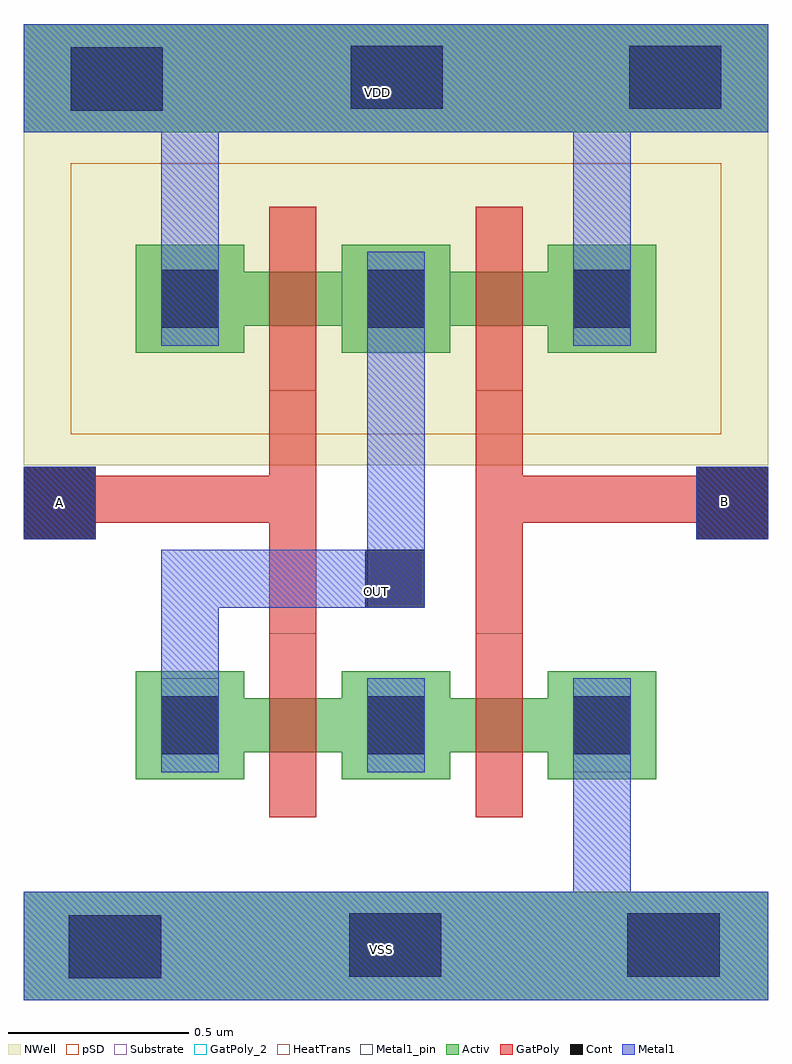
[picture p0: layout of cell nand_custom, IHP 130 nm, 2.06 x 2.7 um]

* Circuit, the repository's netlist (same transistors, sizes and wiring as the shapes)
** sch_path: /foss/designs/PhaseInterpolator/Custom_std_cells/nand_custom.sch
.subckt nand_custom VDD OUT A B VSS
*.PININFO VDD:B VSS:B A:I B:I OUT:O
M1 OUT A net1 VSS sg13_lv_nmos w=0.15u l=0.13u ng=1 m=1
M2 OUT A VDD VDD sg13_lv_pmos w=0.15u l=0.13u ng=1 m=1
M3 net1 B VSS VSS sg13_lv_nmos w=0.15u l=0.13u ng=1 m=1
M4 OUT B VDD VDD sg13_lv_pmos w=0.15u l=0.13u ng=1 m=1
.ends

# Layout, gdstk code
from math import pi, radians
import gdstk
lib = gdstk.Library(unit=1e-6, precision=5e-09)
def R(c, l, rs):  # rectangles x0, y0, x1, y1
    for r in rs: c.add(gdstk.rectangle(r[:2], r[2:], *l))
Activ = (1, 0)
GatPoly = (5, 0)
GatPoly_2 = (5, 2)
Cont = (6, 0)
Metal1 = (8, 0)
Metal1_pin = (8, 2)
pSD = (14, 0)
NWell = (31, 0)
Substrate = (40, 0)
HeatTrans = (51, 0)

nmos = lib.new_cell('nmos')
R(nmos, Activ, [(0,0,0.3,0.3), (0.57,0,0.87,0.3), (0,0.075,0.87,0.225)])
R(nmos, GatPoly, [(0.37,-0.105,0.5,0.405)])
R(nmos, GatPoly_2, [(0.37,-0.105,0.5,0.405)])
R(nmos, Cont, [(0.07,0.07,0.23,0.23), (0.64,0.07,0.8,0.23)])
R(nmos, Metal1, [(0.07,0.02,0.23,0.28), (0.64,0.02,0.8,0.28)])
R(nmos, Metal1_pin, [(0.07,0.02,0.23,0.28), (0.64,0.02,0.8,0.28)])
R(nmos, HeatTrans, [(0.37,-0.105,0.5,0.405)])
nmos.add(gdstk.Label('nmos', (0.435,0.15), layer=63, texttype=0))
nmos.add(gdstk.Label('nmos', (0.435,0.15), layer=51, texttype=0))

pmos = lib.new_cell('pmos')
R(pmos, Activ, [(0,0,0.3,0.3), (0.57,0,0.87,0.3), (0,0.075,0.87,0.225)])
R(pmos, GatPoly, [(0.37,-0.105,0.5,0.405), (0.37,-0.105,0.5,0.405)])
R(pmos, Cont, [(0.07,0.07,0.23,0.23), (0.64,0.07,0.8,0.23)])
R(pmos, Metal1, [(0.07,0.02,0.23,0.28), (0.07,0.02,0.23,0.28), (0.64,0.02,0.8,0.28), (0.64,0.02,0.8,0.28)])
R(pmos, pSD, [(-0.18,-0.225,1.05,0.525)])
R(pmos, NWell, [(-0.31,-0.31,1.18,0.61)])
R(pmos, Substrate, [(0.57,0,0.87,0.3)])
R(pmos, HeatTrans, [(0.37,-0.105,0.5,0.405)])
pmos.add(gdstk.Label('pmos', (0.435,0.15), layer=63, texttype=0))
pmos.add(gdstk.Label('pmos', (0.435,0.15), layer=51, texttype=0))

nand_custom = lib.new_cell('nand_custom')
R(nand_custom, Activ, [(0.95,1.7,3.01,2), (0.95,4.1,3.01,4.4)])
R(nand_custom, GatPoly, [(1.63,2.205,1.76,3.895), (2.2,2.205,2.33,3.895), (0.95,2.975,1.15,3.175), (2.81,2.975,3.01,3.175), (1.15,3.02,1.76,3.15), (2.2,3.02,2.81,3.15)])
R(nand_custom, Cont, [(1.075,1.76,1.33,1.935), (1.85,1.765,2.105,1.94), (2.62,1.765,2.875,1.94), (1.895,2.785,2.06,2.945), (0.95,2.975,1.15,3.175), (2.81,2.975,3.01,3.175), (1.08,4.16,1.335,4.335), (1.855,4.165,2.11,4.34), (2.625,4.165,2.88,4.34)])
R(nand_custom, Metal1, [(0.95,1.7,3.01,2), (2.47,1.7,2.63,2.59), (1.33,2.33,1.49,2.945), (1.33,2.785,2.06,2.945), (1.9,2.785,2.06,3.77), (0.95,2.975,1.15,3.175), (2.81,2.975,3.01,3.175), (1.33,3.51,1.49,4.4), (2.47,3.51,2.63,4.4), (0.95,4.1,3.01,4.4)])
R(nand_custom, Metal1_pin, [(0.95,1.7,3.01,2), (1.9,2.785,2.06,3.77), (0.95,2.975,1.15,3.175), (2.81,2.975,3.01,3.175), (0.95,4.1,3.01,4.4)])
R(nand_custom, pSD, [(0.95,1.7,3.01,2)])
R(nand_custom, NWell, [(0.95,4.1,3.01,4.4)])
nand_custom.add(gdstk.Reference(nmos, (1.26,2.31)))
nand_custom.add(gdstk.Reference(nmos, (1.83,2.31)))
nand_custom.add(gdstk.Reference(pmos, (2.7,3.79), rotation=pi))
nand_custom.add(gdstk.Reference(pmos, (1.26,3.49)))
nand_custom.add(gdstk.Label('VSS', (1.94,1.84), layer=8, texttype=25))
nand_custom.add(gdstk.Label('A', (1.05,3.075), layer=8, texttype=25))
nand_custom.add(gdstk.Label('OUT', (1.925,2.83), layer=8, texttype=25))
nand_custom.add(gdstk.Label('B', (2.89,3.08), layer=8, texttype=25))
nand_custom.add(gdstk.Label('VDD', (1.93,4.21), layer=8, texttype=25))

lib.write_gds('nand_custom.gds')
